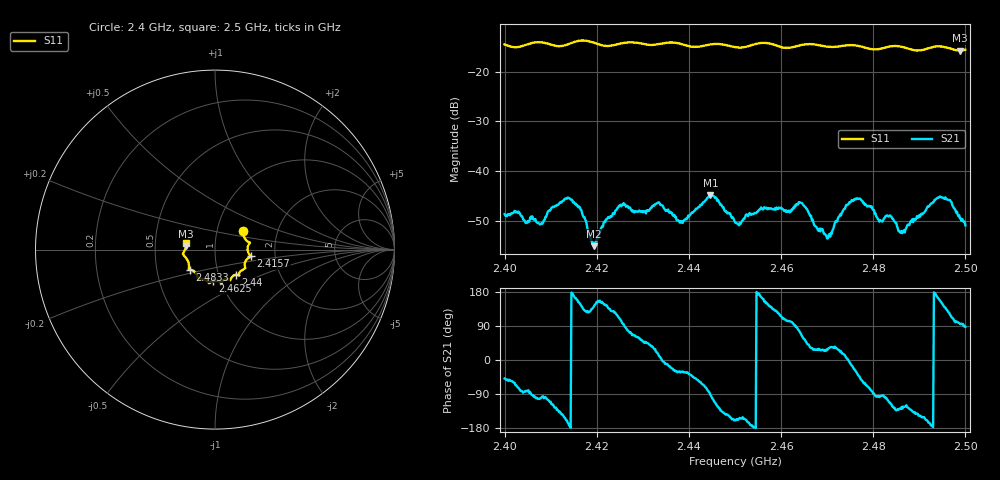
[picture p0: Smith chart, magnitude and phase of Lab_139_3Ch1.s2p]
# Hz S RI R 50
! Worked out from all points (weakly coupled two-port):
!   601 points, 2.4 GHz to 2.5 GHz, reference 50 ohm
!   highest |S21| = -44.81 dB at 2.4447 GHz (marker M1); lowest = -55.1 dB at 2.4193 GHz (marker M2)
!   lowest |S11| = -15.7 dB at 2.4988 GHz (marker M3), VSWR 1.39, Z = 36 + j1.38 ohm
!   |S11| at or under -10 dB: start of sweep to end of sweep
!   S12 and S22 are empty: the file has one direction only
!   S11 on the Smith chart (normalised r, x): 2.4 GHz: 1.33, +0.29; 2.4157 GHz: 1.49, -0.12; 2.44 GHz: 1.21, -0.35; 2.4625 GHz: 0.92, -0.34; 2.4833 GHz: 0.74, -0.17; 2.5 GHz: 0.72, +0.06
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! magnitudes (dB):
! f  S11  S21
! 2.4 GHz  -14.5  -48.7
! 2.4078 GHz  -14.1  -50.7
! 2.4133 GHz  -14.6  -45.5
! 2.4157 GHz  -13.8  -46.9
! 2.4167 GHz  -13.7  -47.9
! 2.4193 GHz  -14.1  -55.1
! 2.4253 GHz  -14.3  -47.1
! 2.4333 GHz  -14.4  -46.3
! 2.44 GHz  -14.8  -49.2
! 2.4447 GHz  -14.5  -44.8
! 2.45 GHz  -15.0  -50.3
! 2.4625 GHz  -15.0  -47.7
! 2.4643 GHz  -14.6  -46.4
! 2.4667 GHz  -14.4  -49.8
! 2.4703 GHz  -15.0  -52.9
! 2.4767 GHz  -14.8  -45.6
! 2.4815 GHz  -15.4  -49.9
! 2.4833 GHz  -15.0  -49.2
! 2.4863 GHz  -15.0  -52.5
! 2.4945 GHz  -14.9  -45.1
! 2.4988 GHz  -15.7  -49.5
! 2.5 GHz  -15.6  -50.9
